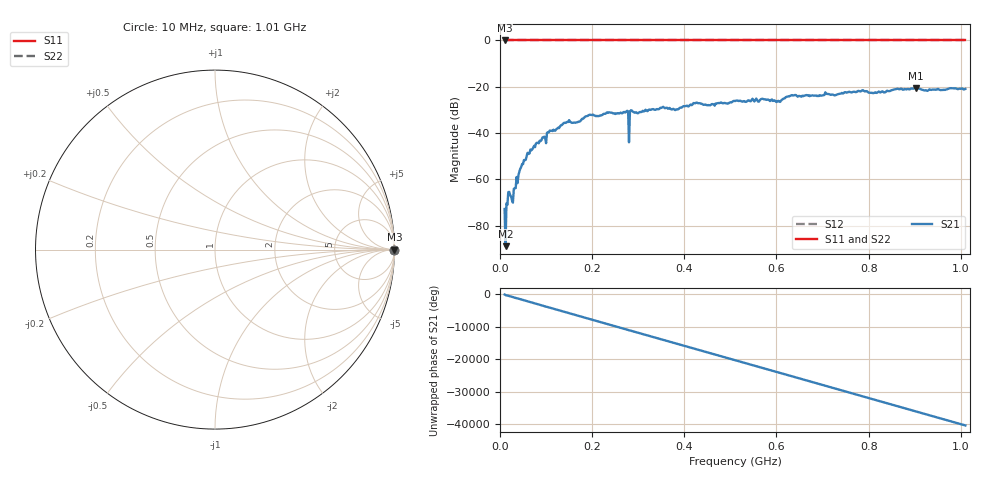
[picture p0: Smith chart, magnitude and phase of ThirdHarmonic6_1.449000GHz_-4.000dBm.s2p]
! 8/16/2025 4:47:20 PM
! C:\ANRITSUVNA\TEMP\TEMP.S2P
! CHANNEL.1
! TR.MEASUREMENT
! RAW.DATA
! RF.CORRECTION.OFF
! AVERAGING.OFF
! IF.BANDWIDTH: 5KHZ
! SWEEPTYPE:  FREQ.SWEEP(Linear)
! Reference Plane Port Info
! PORT:  PORT1  PORT2
! DISTANCE:  0  m  0  m
! TIME:  0  s  0  s
! PHASE.OFFSET:  0  deg.  0  deg.
! LOSS:  0  dB  0  dB
! REF.LOSS:  0  dB  0  dB
! REF.FREQ:  0  Hz  0  Hz
! Power Info
! POWER:  -20  dBm  -20  dBm
! EFF.POWER:  -20  dBm  -20  dBm
! SOURCE.ATTEN:  0  dB  0  dB
! TEST.ATTEN:  0  dB  0  dB
# GHZ S RI R 50.0
! FREQ.GHZ  S11RE  S11IM  S21RE  S21IM  S12RE  S12IM  S22RE  S22IM
!; PortSelection: Port_12
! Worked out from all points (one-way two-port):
!   501 points, 10 MHz to 1.01 GHz, reference 50 ohm
!   highest |S21| = -20.54 dB at 902 MHz (marker M1); lowest = -88.9 dB at 12 MHz (marker M2)
!   lowest |S11| = 0.0 dB at 10 MHz (marker M3)
!   |S11| at or under -10 dB: nowhere
!   |S22| runs from 0.0 to 0.0 dB; largest |S21 - S12| = 1.1
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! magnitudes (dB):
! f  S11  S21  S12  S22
! 10 MHz  0.0  -72.8  0.0  0.0
! 12 MHz  0.0  -88.9  0.0  0.0
! 18 MHz  0.0  -65.5  0.0  0.0
! 30 MHz  0.0  -64.1  0.0  0.0
! 48 MHz  0.0  -53.4  0.0  0.0
! 70 MHz  0.0  -47.0  0.0  0.0
! 106 MHz  0.0  -39.7  0.0  0.0
! 146 MHz  0.0  -35.2  0.0  0.0
! 178 MHz  0.0  -33.9  0.0  0.0
! 196 MHz  0.0  -32.2  0.0  0.0
! 274 MHz  0.0  -30.7  0.0  0.0
! 276 MHz  0.0  -30.4  0.0  0.0
! 284 MHz  0.0  -30.2  0.0  0.0
! 286 MHz  0.0  -30.3  0.0  0.0
! 344 MHz  0.0  -29.7  0.0  0.0
! 510 MHz  0.0  -26.2  0.0  0.0
! 604 MHz  0.0  -26.1  0.0  0.0
! 634 MHz  0.0  -23.6  0.0  0.0
! 678 MHz  0.0  -23.7  0.0  0.0
! 844 MHz  0.0  -21.9  0.0  0.0
! 902 MHz  0.0  -20.5  0.0  0.0
! 1.01 GHz  0.0  -21.0  0.0  0.0
